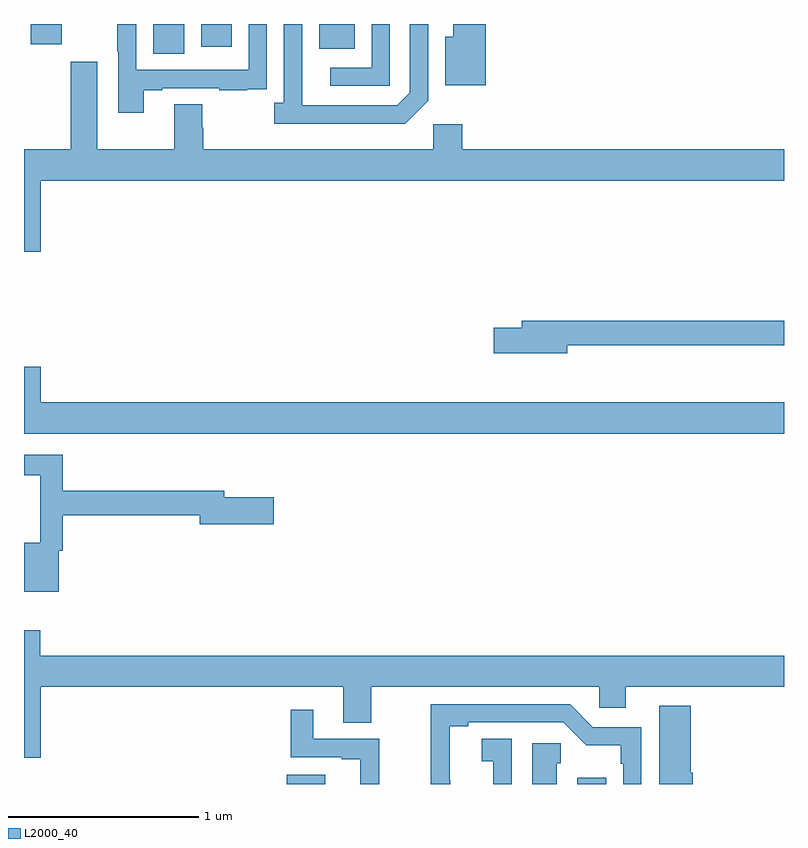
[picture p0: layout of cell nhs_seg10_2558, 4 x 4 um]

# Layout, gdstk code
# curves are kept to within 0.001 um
import gdstk
lib = gdstk.Library(unit=1e-6, precision=1e-09)
def R(c, l, rs):  # rectangles x0, y0, x1, y1
    for r in rs: c.add(gdstk.rectangle(r[:2], r[2:], *l))
def P(c, l, *ps):  # polygons
    for p in ps: c.add(gdstk.Polygon(p, *l))
L2000_40 = (2000, 40)

nhs_seg10_2558 = lib.new_cell('nhs_seg10_2558')
R(nhs_seg10_2558, L2000_40, [(250.382,1270.5,250.585,1270.549), (251.912,1270.5,252.064,1270.534), (249.68,1274.344,249.844,1274.5), (250.553,1274.369,250.741,1274.5), (249.932,1274.379,250.093,1274.5), (249.035,1274.394,249.199,1274.5)])
P(nhs_seg10_2558, L2000_40, [(251.429,1274.5),(251.258,1274.5),(251.258,1274.434),(251.216,1274.434),(251.216,1274.177),(251.429,1274.177)],
  [(250.926,1274.5),(250.83,1274.5),(250.83,1274.271),(250.611,1274.271),(250.611,1274.175),(250.926,1274.175)],
  [(251.127,1274.097),(251.127,1274.5),(251.031,1274.5),(251.031,1274.139),(250.965,1274.073),(250.465,1274.073),(250.464,1274.5),(250.368,1274.5),(250.368,1274.086),(250.317,1274.086),(250.317,1273.976),(251.006,1273.976)],
  [(249.631,1274.151),(249.727,1274.151),(249.727,1274.163),(250.027,1274.163),(250.027,1274.151),(250.175,1274.151),(250.175,1274.157),(250.277,1274.157),(250.277,1274.266),(250.278,1274.266),(250.278,1274.5),(250.182,1274.5),(250.182,1274.259),(249.591,1274.259),(249.591,1274.5),(249.49,1274.5),(249.49,1274.356),(249.495,1274.356),(249.495,1274.034),(249.631,1274.034)],
  [(249.088,1273.676),(253,1273.676),(253,1273.84),(251.306,1273.84),(251.306,1273.972),(251.154,1273.972),(251.154,1273.84),(249.944,1273.84),(249.944,1273.953),(249.939,1273.953),(249.939,1274.078),(249.791,1274.078),(249.791,1273.84),(249.385,1273.84),(249.385,1274.302),(249.245,1274.302),(249.245,1273.84),(249,1273.84),(249,1273.302),(249.088,1273.302)],
  [(251.86,1272.81),(253,1272.81),(253,1272.938),(251.621,1272.938),(251.621,1272.902),(251.472,1272.902),(251.472,1272.767),(251.86,1272.767)],
  [(253,1272.508),(249.088,1272.508),(249.088,1272.697),(249,1272.697),(249,1272.344),(253,1272.344)],
  [(249.184,1271.727),(249.203,1271.727),(249.203,1271.914),(249.926,1271.914),(249.926,1271.867),(250.315,1271.867),(250.315,1272.009),(250.054,1272.009),(250.054,1272.043),(249.203,1272.043),(249.203,1272.234),(249,1272.234),(249,1272.126),(249.086,1272.126),(249.086,1271.77),(249,1271.77),(249,1271.513),(249.184,1271.513)],
  [(249.088,1271.012),(250.679,1271.012),(250.679,1270.822),(250.827,1270.822),(250.827,1271.012),(252.027,1271.012),(252.027,1270.902),(252.166,1270.902),(252.166,1271.012),(253,1271.012),(253,1271.176),(249.086,1271.176),(249.086,1271.308),(249,1271.308),(249,1270.638),(249.088,1270.638)],
  [(251.244,1270.521),(251.242,1270.521),(251.242,1270.804),(251.338,1270.804),(251.338,1270.824),(251.838,1270.824),(251.959,1270.703),(252.141,1270.703),(252.141,1270.607),(252.153,1270.607),(252.153,1270.5),(252.249,1270.5),(252.249,1270.8),(251.994,1270.8),(251.874,1270.92),(251.14,1270.92),(251.14,1270.5),(251.244,1270.5)],
  [(252.521,1270.558),(252.508,1270.558),(252.508,1270.912),(252.344,1270.912),(252.344,1270.5),(252.521,1270.5)],
  [(250.871,1270.737),(250.522,1270.737),(250.522,1270.891),(250.405,1270.891),(250.405,1270.641),(250.673,1270.641),(250.673,1270.629),(250.769,1270.629),(250.769,1270.5),(250.871,1270.5)],
  [(251.568,1270.739),(251.409,1270.739),(251.409,1270.619),(251.47,1270.619),(251.47,1270.5),(251.568,1270.5)],
  [(251.803,1270.608),(251.825,1270.608),(251.825,1270.714),(251.675,1270.714),(251.675,1270.5),(251.803,1270.5)])

lib.write_gds('nhs_seg10_2558.gds')
